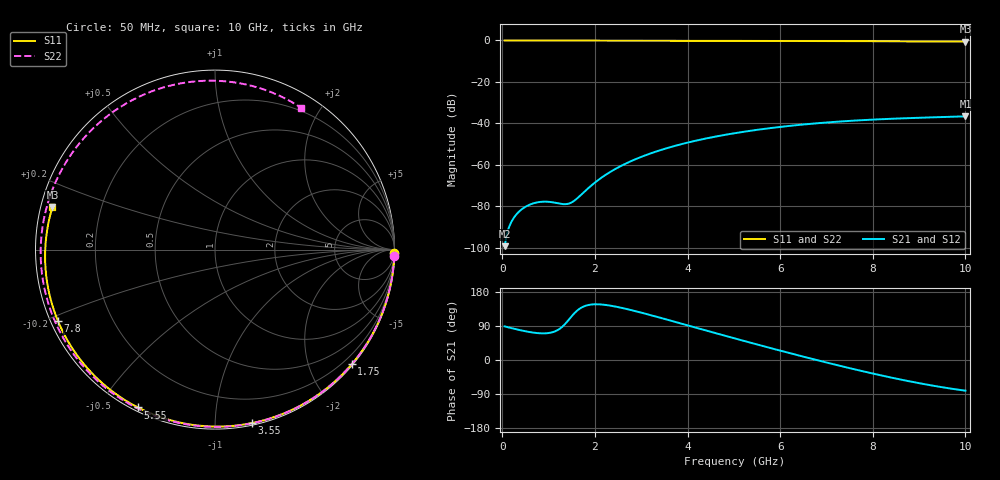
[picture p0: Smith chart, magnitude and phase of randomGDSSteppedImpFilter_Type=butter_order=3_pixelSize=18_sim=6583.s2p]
! freq	dB(S11)	phase(S11)	dB(S12)	phase(S12)
!  dB(S21)	phase(S21)	dB(S22)	phase(S22)
!S-par simulation data
#  GHz  S  DB  R 50
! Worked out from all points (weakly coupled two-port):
!   200 points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, 50 MHz to 10 GHz, reference 50 ohm
!   highest |S21| = -36.56 dB at 10 GHz (marker M1); lowest = -99.1 dB at 50 MHz (marker M2)
!   lowest |S11| = -0.6 dB at 10 GHz (marker M3), VSWR 30.30, Z = 1.68 + j6.44 ohm
!   |S11| at or under -10 dB: nowhere
!   |S22| runs from -0.7 to 0.0 dB; largest |S21 - S12| = 0
!   S11 on the Smith chart (normalised r, x): 50 MHz: 0, -97; 1.75 GHz: 0.02, -2.75; 3.55 GHz: 0.01, -1.23; 5.55 GHz: 0.01, -0.62; 7.8 GHz: 0.02, -0.22; 10 GHz: 0.03, +0.13
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0.05  -0.00 -1.2  -99.12 88.7  -99.12 88.7  -0.00 -1.9
0.5  -0.02 -11.6  -80.16 75.8  -80.16 75.8  -0.03 -19.1
0.7  -0.02 -16.2  -78.30 71.8  -78.30 71.8  -0.03 -26.7
0.95  -0.03 -22.0  -77.68 70.5  -77.68 70.5  -0.05 -36.0
1.4  -0.04 -32.2  -78.81 101.1  -78.81 101.1  -0.06 -52.3
1.55  -0.05 -35.6  -77.30 122.5  -77.30 122.5  -0.07 -57.6
1.75  -0.05 -40.0  -73.38 140.8  -73.38 140.8  -0.08 -64.6
2.1  -0.06 -47.7  -66.78 146.8  -66.78 146.8  -0.09 -76.4
2.45  -0.07 -55.3  -61.81 140.9  -61.81 140.9  -0.10 -87.8
2.9  -0.08 -64.8  -57.00 128.2  -57.00 128.2  -0.12 -101.8
3.4  -0.10 -75.1  -52.95 111.9  -52.95 111.9  -0.14 -116.7
3.55  -0.10 -78.1  -51.92 106.8  -51.92 106.8  -0.14 -121.0
4.3  -0.13 -92.8  -47.70 81.2  -47.70 81.2  -0.17 -141.8
5.05  -0.16 -107.0  -44.57 55.9  -44.57 55.9  -0.21 -161.7
5.55  -0.19 -116.1  -42.92 39.4  -42.92 39.4  -0.24 -174.7
6.1  -0.22 -125.9  -41.41 21.6  -41.41 21.6  -0.28 171.1
6.7  -0.26 -136.4  -40.09 2.6  -40.09 2.6  -0.32 155.4
7.25  -0.30 -146.0  -39.12 -14.1  -39.12 -14.1  -0.36 140.7
7.8  -0.34 -155.5  -38.36 -30.2  -38.36 -30.2  -0.41 125.5
8.35  -0.40 -165.0  -37.78 -45.1  -37.78 -45.1  -0.46 109.8
9.2  -0.48 180.0  -37.11 -65.6  -37.11 -65.6  -0.55 84.1
10  -0.57 165.3  -36.56 -81.0  -36.56 -81.0  -0.68 58.6
